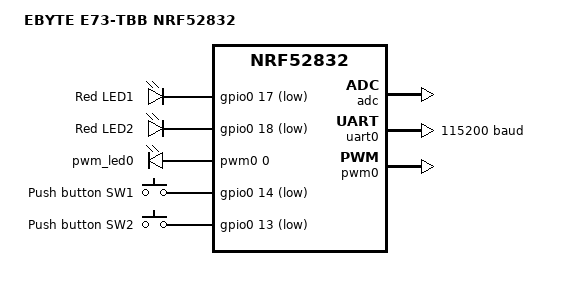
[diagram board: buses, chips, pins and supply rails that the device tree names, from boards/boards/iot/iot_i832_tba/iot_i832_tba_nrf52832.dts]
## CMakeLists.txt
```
#
# Copyright (c) 2021 Nordic Semiconductor ASA
#
# SPDX-License-Identifier: LicenseRef-Nordic-5-Clause
#
cmake_minimum_required(VERSION 3.20.0)
find_package(Zephyr REQUIRED HINTS $ENV{ZEPHYR_BASE})
project(vibTrack)

# NORDIC SDK APP START
target_sources(app PRIVATE
  src/SystemStateMachine/SystemInit.c src/main.c src/BLE/ble.c src/Configurations/Configurations.c src/nrfconfig.c
)
# NORDIC  SDK APP END
```

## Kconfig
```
#
# Copyright (c) 2023 Nordic Semiconductor
#
# SPDX-License-Identifier: LicenseRef-Nordic-5-Clause
#

source "Kconfig.zephyr"

menu "Nordic Status Message GATT service sample"

config BT_STATUS_SECURITY_ENABLED
	bool "Enable security"
	default n
	select BT_SMP
	select BT_SETTINGS
	select FLASH
	select FLASH_PAGE_LAYOUT
	select FLASH_MAP
	select NVS
	select SETTINGS
	help
	  Enable BLE security implementation for Nordic Status Message instances.
	  After enabling this option one of the Status Messages would be available only when
	  connection is secure.

endmenu
```

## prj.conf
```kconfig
CONFIG_NCS_SAMPLES_DEFAULTS=y
CONFIG_DK_LIBRARY=y

CONFIG_BT=y
#CONFIG_LOG=y
CONFIG_BT_PERIPHERAL=y
CONFIG_BT_DEVICE_APPEARANCE=832
CONFIG_BT_DEVICE_NAME="Nordic_HRS"
CONFIG_BT_HRS=y
CONFIG_BT_BAS=y



#CONFIG_FLASH=y
#CONFIG_FLASH_PAGE_LAYOUT=y
#CONFIG_FLASH_MAP=y
#CONFIG_SETTINGS=y

CONFIG_SPI=y
CONFIG_I2C=y
CONFIG_WATCHDOG=n

#CONFIG_BT_LL_SW_SPLIT=y
CONFIG_CLOCK_CONTROL_NRF_K32SRC_RC=y

#dynamic control and features
CONFIG_BT_CTLR_ADVANCED_FEATURES=y
CONFIG_BT_CTLR_CONN_RSSI=y
CONFIG_BT_CTLR_TX_PWR_DYNAMIC_CONTROL=y


# CONFIG le coded
CONFIG_BT_CTLR_PHY_CODED=y
CONFIG_BT_CTLR_ADV_EXT=y

CONFIG_BT_EXT_ADV=y
CONFIG_BT_USER_PHY_UPDATE=y




#tx power level cofig
#CONFIG_BT_CTLR_TX_PWR_MINUS_20=y
CONFIG_BT_CTLR_TX_PWR_PLUS_8=y
#CONFIG_BT_CTLR_TX_PWR_0=y
```

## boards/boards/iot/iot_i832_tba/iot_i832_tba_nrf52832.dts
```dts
/*
 * Copyright (c) 2017 Shawn Nock <shawn@monadnock.ca>
 * Copyright (c) 2017 Linaro Limited
 * Copyright (c) 2021 Michal Morsisko
 *
 * SPDX-License-Identifier: Apache-2.0
 */

/dts-v1/;
#include <nordic/nrf52832_qfaa.dtsi>
#include "iot_i832_tba_nrf52832-pinctrl.dtsi"
#include <zephyr/dt-bindings/input/input-event-codes.h>

/ {
	model = "EBYTE E73-TBB NRF52832";
	compatible = "ebyte,e73-tbb-nrf52832";

	chosen {
		zephyr,console = &uart0;
		zephyr,shell-uart = &uart0;
		zephyr,uart-mcumgr = &uart0;
		zephyr,bt-mon-uart = &uart0;
		zephyr,bt-c2h-uart = &uart0;
		zephyr,sram = &sram0;
		zephyr,flash = &flash0;
		zephyr,code-partition = &slot0_partition;
	};

	leds {
		compatible = "gpio-leds";
		led0: led_0 {
			gpios = <&gpio0 17 GPIO_ACTIVE_LOW>;
			label = "Red LED1";
		};
		led1: led_1 {
			gpios = <&gpio0 18 GPIO_ACTIVE_LOW>;
			label = "Red LED2";
		};
	};

	pwmleds {
		compatible = "pwm-leds";
		pwm_led0: pwm_led_0 {
			pwms = <&pwm0 0 PWM_MSEC(20) PWM_POLARITY_INVERTED>;
		};
	};

	buttons {
		compatible = "gpio-keys";
		button0: button_0 {
			gpios = <&gpio0 14 (GPIO_PULL_UP | GPIO_ACTIVE_LOW)>;
			label = "Push button SW1";
			zephyr,code = <INPUT_KEY_0>;
		};
		button1: button_1 {
			gpios = <&gpio0 13 (GPIO_PULL_UP | GPIO_ACTIVE_LOW)>;
			label = "Push button SW2";
			zephyr,code = <INPUT_KEY_1>;
		};
	};

	/* These aliases are provided for compatibility with samples */
	aliases {
		led0 = &led0;
		led1 = &led1;
		pwm-led0 = &pwm_led0;
		sw0 = &button0;
		sw1 = &button1;
		bootloader-led0 = &led0;
		watchdog0 = &wdt0;
	};
};

&adc {
	status = "okay";
};

&uicr {
	gpio-as-nreset;
};

&gpiote {
	status = "okay";
};

&gpio0 {
	status = "okay";
};

&uart0 {
	status = "okay";
	compatible = "nordic,nrf-uarte";
	current-speed = <115200>;
	pinctrl-0 = <&uart0_default>;
	pinctrl-1 = <&uart0_sleep>;
	pinctrl-names = "default", "sleep";
};

&pwm0 {
	status = "okay";
	pinctrl-0 = <&pwm0_default>;
	pinctrl-1 = <&pwm0_sleep>;
	pinctrl-names = "default", "sleep";
};

&flash0 {

	partitions {
		compatible = "fixed-partitions";
		#address-cells = <1>;
		#size-cells = <1>;

		boot_partition: partition@0 {
			label = "mcuboot";
			reg = <0x00000000 0xc000>;
		};
		slot0_partition: partition@c000 {
			label = "image-0";
			reg = <0x0000C000 0x32000>;
		};
		slot1_partition: partition@3e000 {
			label = "image-1";
			reg = <0x0003E000 0x32000>;
		};
		scratch_partition: partition@70000 {
			label = "image-scratch";
			reg = <0x00070000 0xa000>;
		};
		storage_partition: partition@7a000 {
			label = "storage";
			reg = <0x0007a000 0x00006000>;
		};
	};
};
```

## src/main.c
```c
// #include "../inc/vibSens.h"

#include "../inc/SystemStateMachine/SystemInit.h"
int main(void)
{
	system_init();
	init_timers();
	// blink_led();

	while (1)
	{
		process_radio_states();
		// blink_led();
	}
}
```

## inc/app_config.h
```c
#ifndef _APP_CONFIG_H
#define _APP_CONFIG_H

#include <zephyr/types.h>
#include <stddef.h>
#include <zephyr/sys/printk.h>
#include <zephyr/sys/util.h>
#include <zephyr/sys/byteorder.h>

#include <zephyr/bluetooth/bluetooth.h>
#include <zephyr/bluetooth/hci.h>
#include <zephyr/bluetooth/hci_vs.h>

#include <zephyr/bluetooth/conn.h>
#include <zephyr/bluetooth/uuid.h>
#include <zephyr/bluetooth/gatt.h>
#include <zephyr/bluetooth/services/hrs.h>
#include <zephyr/device.h>
#include <zephyr/settings/settings.h>
#include <zephyr/drivers/gpio.h>

#include <dk_buttons_and_leds.h>


#include <zephyr/types.h>
#include <stddef.h>
#include <zephyr/sys/printk.h>
#include <zephyr/sys/util.h>
#include <zephyr/sys/byteorder.h>

#include <zephyr/bluetooth/bluetooth.h>
#include <zephyr/bluetooth/hci.h>
#include <zephyr/bluetooth/hci_vs.h>

#include <zephyr/bluetooth/conn.h>
#include <zephyr/bluetooth/uuid.h>
#include <zephyr/bluetooth/gatt.h>
#include <zephyr/bluetooth/services/hrs.h>


#define ENABLE 1
#define DISABLE 0

#define CTX_PIN 17
#define CRX_PIN 19
#define CPS_PIN 6

#define STATUS_LED_BT832X 20
#define STATUS_LED_E73_833 29

#define STATUS_LED STATUS_LED_BT832X

#define GPIO_PORT DT_NODELABEL(gpio0) // Use GPIO0 (check your devicetree)

#define ADV_TX_POWER (int8_t) 4
#define DEVICE_BEACON_TXPOWER_NUM  8
static const int8_t txpower[DEVICE_BEACON_TXPOWER_NUM] = {4, 0, -3, -8,
							  -15, -18, -23, -30};

#endif //_APP_CONFIG_H
```

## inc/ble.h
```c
#ifndef _BLE_H
#define _BLE_H

int stop_advertise(void);
int start_advertise(void);
int radio_init(void);


#endif //_BLE_H
```

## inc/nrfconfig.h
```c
#ifndef _NRF_CONFIG_H
#define _NRF_CONFIG_H

#include <stddef.h>
#include <errno.h>
#include <string.h>

#include <zephyr/kernel.h>
#include <zephyr/types.h>

#include <zephyr/sys/printk.h>
#include <zephyr/sys/util.h>
#include <zephyr/sys/byteorder.h>

#include <zephyr/bluetooth/bluetooth.h>
#include <zephyr/bluetooth/hci.h>
#include <zephyr/bluetooth/hci_vs.h>
#include <zephyr/bluetooth/conn.h>
#include <zephyr/bluetooth/uuid.h>
#include <zephyr/bluetooth/gatt.h>
#include <zephyr/bluetooth/services/hrs.h>
#include <zephyr/bluetooth/services/bas.h>
#include <bluetooth/services/lbs.h>

#include <zephyr/device.h>
#include <zephyr/settings/settings.h>
#include <zephyr/drivers/gpio.h>

#include <dk_buttons_and_leds.h>


#endif //_NRF_CONFIG_H
```

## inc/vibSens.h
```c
#ifndef _VIB_SENSOR_H
#define _VIB_SENSOR_H

void blink_led();
void init_timers(void);
int system_init(void);
void handle_advertise();
int start_advertise(void);
int stop_advertise(void);

#endif //_VIB_SENSOR_H
```

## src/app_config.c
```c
#include "../inc/app_config.h"

const struct device *gpio_dev;
static int int_power_amplifire(uint8_t status)
{
    int err = 0;

    gpio_dev = DEVICE_DT_GET(GPIO_PORT);
    if (!device_is_ready(gpio_dev))
    {
        printk("GPIO device not ready\n");
        return 1;
    }

    gpio_pin_configure(gpio_dev, CTX_PIN, GPIO_OUTPUT_ACTIVE);
    gpio_pin_configure(gpio_dev, CRX_PIN, GPIO_OUTPUT_ACTIVE);
    gpio_pin_configure(gpio_dev, CPS_PIN, GPIO_OUTPUT_ACTIVE);

    if (status == ENABLE)
    {
        // set sky66112 power mode transmit high power
        gpio_pin_set(gpio_dev, CPS_PIN, 0); // CPS = 0  CPS_PIN = 6
        gpio_pin_set(gpio_dev, CTX_PIN, 1); // CTX = 1  CTX_PIN = 17
        gpio_pin_set(gpio_dev, CRX_PIN, 0); // CRX = X  CRX_PIN = 19
    }
    else if (status == DISABLE)
    {
        // set sky66112 power mode transmit low power
        gpio_pin_set(gpio_dev, CPS_PIN, 0); // CPS = 1  CPS_PIN = 6
        gpio_pin_set(gpio_dev, CTX_PIN, 0); // CTX = 0  CTX_PIN = 17
        gpio_pin_set(gpio_dev, CRX_PIN, 0); // CRX = X  CRX_PIN = 19
    }

    return err;
}
```

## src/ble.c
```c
#include "../inc/app_config.h"
#include "../inc/ble.h"

#define MAX_ADVERTISE_PACKET 250
static struct bt_conn *default_conn;
static uint16_t default_conn_handle;


static void set_tx_power(uint8_t handle_type, uint16_t handle, int8_t tx_pwr_lvl)
{
	struct bt_hci_cp_vs_write_tx_power_level *cp;
	struct bt_hci_rp_vs_write_tx_power_level *rp;
	struct net_buf *buf, *rsp = NULL;
	int err;

	buf = bt_hci_cmd_create(BT_HCI_OP_VS_WRITE_TX_POWER_LEVEL,sizeof(*cp));
	if (!buf) {
		printk("Unable to allocae command buffer\n");
		return;
	}

	cp = net_buf_add(buf, sizeof(*cp));
	cp->handle = sys_cpu_to_le16(handle);
	cp->handle_type = handle_type;
	cp->tx_power_level = tx_pwr_lvl;

	err = bt_hci_cmd_send_sync(BT_HCI_OP_VS_WRITE_TX_POWER_LEVEL,
				   buf, &rsp);
	if (err) {
		printk("Set Tx power err: %d\n", err);
		return;
	}

	rp = (void *)rsp->data;
	printk("Actual Tx Power: %d\n", rp->selected_tx_power);

	net_buf_unref(rsp);
}

static void get_tx_power(uint8_t handle_type, uint16_t handle, int8_t *tx_pwr_lvl)
{
	struct bt_hci_cp_vs_read_tx_power_level *cp;
	struct bt_hci_rp_vs_read_tx_power_level *rp;
	struct net_buf *buf, *rsp = NULL;
	int err;

	*tx_pwr_lvl = 0xFF;
	buf = bt_hci_cmd_create(BT_HCI_OP_VS_READ_TX_POWER_LEVEL,
				sizeof(*cp));
	if (!buf) {
		printk("Unable to allocate command buffer\n");
		return;
	}

	cp = net_buf_add(buf, sizeof(*cp));
	cp->handle = sys_cpu_to_le16(handle);
	cp->handle_type = handle_type;

	err = bt_hci_cmd_send_sync(BT_HCI_OP_VS_READ_TX_POWER_LEVEL,
				   buf, &rsp);
	if (err) {
		printk("Read Tx power err: %d\n", err);
		return;
	}

	rp = (void *)rsp->data;
	*tx_pwr_lvl = rp->tx_power_level;

	net_buf_unref(rsp);
}



// static uint8_t txPower = 8;
uint8_t adv_packet_no = 0;
uint8_t sensor_data[] = {
    0x4C, 0x00, // 0x59 00 nordic, 0x4c 00 apple
    0x02, 0x15,
    0x1A, 0xCC, 0x1B, 0x16, 0x01, 0x02, 0x03, 0x04, 0x05, 0x06, 0x07, 0x08, 0x09, 0x0A, 0x0B, 0x0C,
    0x00, 0x00, 0x00, 0x00, 0x00};

static const struct bt_data sensor[] = {
    BT_DATA_BYTES(BT_DATA_FLAGS, BT_LE_AD_NO_BREDR | BT_LE_AD_GENERAL),
    BT_DATA(BT_DATA_MANUFACTURER_DATA, sensor_data, sizeof(sensor_data)),
};
/*
static const struct bt_data ad[] = {
    BT_DATA_BYTES(BT_DATA_FLAGS, (BT_LE_AD_GENERAL | BT_LE_AD_NO_BREDR)),
    BT_DATA(BT_DATA_NAME_COMPLETE, DEVICE_NAME, DEVICE_NAME_LEN),
};
static const struct bt_data sd[] = {
    BT_DATA_BYTES(BT_DATA_UUID128_ALL, BT_UUID_NSMS_VAL),
};
*/

/*void set_tx_power(int8_t tx_power)
{
    NRF_RADIO->TXPOWER = (tx_power << RADIO_TXPOWER_TXPOWER_Pos) & RADIO_TXPOWER_TXPOWER_Msk;
}
*/

/*int8_t get_tx_power(void)
{
    return (NRF_RADIO->TXPOWER & RADIO_TXPOWER_TXPOWER_Msk) >> RADIO_TXPOWER_TXPOWER_Pos;
}
*/
void get_public_mac_address(void)
{
    struct net_buf *rsp;
    struct bt_hci_rp_read_bd_addr *rp;
    int err;

    // Send HCI command to read the BD_ADDR (public address)

    err = bt_hci_cmd_send_sync(BT_HCI_OP_READ_BD_ADDR, NULL, &rsp);
    if (err)
    {
        printk("Failed to get public address (err %d)\n", err);
        return;
    }

    rp = (struct bt_hci_rp_read_bd_addr *)rsp->data;

    printk("Public MAC Address: %02X:%02X:%02X:%02X:%02X:%02X\n",
           rp->bdaddr.val[5], rp->bdaddr.val[4], rp->bdaddr.val[3],
           rp->bdaddr.val[2], rp->bdaddr.val[1], rp->bdaddr.val[0]);

    net_buf_unref(rsp);
}

int start_advertise(void)
{
    int err = 0;
    uint8_t tx_power = 0;
    // set_tx_power(4);
    //tx_power = get_tx_power();
  //  set_tx_power(BT_HCI_VS_LL_HANDLE_TYPE_ADV, 0, 8);
    sensor_data[sizeof(sensor_data) - 1] = tx_power;
    sensor_data[sizeof(sensor_data) - 2] = adv_packet_no;
    if (adv_packet_no < MAX_ADVERTISE_PACKET)
    {
        ++adv_packet_no;
    }
    else
    {
        adv_packet_no = 1;
    }

    err = bt_le_adv_start(BT_LE_ADV_CONN, sensor, ARRAY_SIZE(sensor), NULL, 0);

    // err = bt_le_adv_start(BT_LE_ADV_NCONN /*BT_LE_ADV_CONN*/, ad, ARRAY_SIZE(ad), sd, ARRAY_SIZE(sd));

    if (err)
    {
        printk("Advertising failed to start (err %d)\n", err);
        return 0;
    }
    printk("advertising started\n");

    return err;
}

int stop_advertise(void)
{
    int err = 0;
//  err = bt_le_adv_stop();
    return err;
}

int radio_init(void)
{
    int err;
    int8_t txp_get=0;
    printk("Initialize radio \n");
    err = bt_enable(start_advertise);

	printk("Get Tx power level ->");
	get_tx_power(BT_HCI_VS_LL_HANDLE_TYPE_ADV, 0, &txp_get);
	printk("-> default TXP = %d\n", txp_get);

    k_sleep(K_SECONDS(5));

    printk("Set Tx power level to %d\n", ADV_TX_POWER);
	set_tx_power(BT_HCI_VS_LL_HANDLE_TYPE_ADV,0, (int8_t)ADV_TX_POWER);
	k_sleep(K_SECONDS(5));
    printk("Get Tx power level -> ");
	get_tx_power(BT_HCI_VS_LL_HANDLE_TYPE_ADV,0, &txp_get);
	printk("TXP = %d\n", txp_get);
    
    if (err)
    {
        printk("Bluetooth init failed (err %d)\n", err);
        return 0;
    }
    // bt_ctlr_set_public_addr();
    // bt_ctlr_set_static_addr();

    printk("Bluetooth initialized\n");

    if (IS_ENABLED(CONFIG_SETTINGS))
    {
        settings_load();
    }
    // get_public_mac_address();
    return 0;
}
```

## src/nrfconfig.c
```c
#include "..\inc\nrfconfig.h"
```

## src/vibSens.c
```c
/*
  P0.17 -> ctx
  p0.19 -> crx
  p0.06 -> cps

*/
#include "../inc/app_config.h"
#include "../inc/ble.h"
#include "../inc/vibsens.h"

/*
#include <zephyr/bluetooth/bluetooth.h>
#include <zephyr/bluetooth/conn.h>
#include <zephyr/bluetooth/uuid.h>
#include <zephyr/bluetooth/gatt.h>
#include <zephyr/bluetooth/hci.h>
#include <bluetooth/gatt_dm.h>
#include <bluetooth/scan.h>

#include <zephyr/bluetooth/services/bas.h>
#include <zephyr/bluetooth/services/hrs.h>
#include <bluetooth/services/hrs_client.h>


#include <zephyr/device.h>
#include <zephyr/drivers/gpio.h>

#include <zephyr/settings/settings.h>

#include <zephyr/kernel.h>

// #include <sys/byteorder.h>
#include <stdio.h>
// #include <bluetooth/hci_vs.h>

// #include <nrfx_gpio.h>
*/
//#define STACKSIZE 1024
//#define PRIORITY 7

#define RUN_STATUS_LED DK_LED1
#define STATUS_LED1 DK_LED2
#define STATUS_LED2 DK_LED3

#define RUN_LED_BLINK_INTERVAL 1000

// #define HRS_QUEUE_SIZE 16

#define ADVERTISE_DELAY_TIME 2
#define ADVERTISE_DURATION 1000


#define STATUS1_BUTTON DK_BTN1_MSK
#define STATUS2_BUTTON DK_BTN2_MSK

// GPIO defination


int board_init(void);

void cb_timer_app_1sec(struct k_timer *timer_id);
void cb_timer_app_100ms(struct k_timer *timer_id);
void cb_timer_app_100ms_stop(struct k_timer *timer_id);

K_TIMER_DEFINE(timer_1sec, cb_timer_app_1sec, NULL);
K_TIMER_DEFINE(timer_100ms, cb_timer_app_100ms, cb_timer_app_100ms_stop);

uint8_t led_status = 0;



static int init_button(void)
{
    int err;
    //err = dk_buttons_init(button_changed);
    if (err)
    {
        printk("Cannot init buttons (err: %d)\n", err);
    }
    return err;
}

int system_init(void)
{
    int err;
    err = board_init();
    err = radio_init();
    // int_power_amplifire(ENABLE);
    return err;
}

int board_init(void)
{
    int err;
    printk("sensor init\n");
    err = dk_leds_init();
    if (err)
    {
        printk("LEDs init failed (err %d)\n", err);
        return 0;
    }

    /*  err = init_button();
      if (err)
      {
          printk("Button init failed (err %d)\n", err);
          return 0;
      }
      */
    return err;
}

static uint8_t advertise_state = 0;

void handle_advertise()
{
    if (advertise_state == 1)
    {
        //start_advertise();
        //printk("start advertising \n");
        dk_set_led(RUN_STATUS_LED, 0);
        advertise_state = 3;
    }
    else if (advertise_state == 2)
    {
        //stop_advertise();
        //printk("stop advertising \n");
        dk_set_led(RUN_STATUS_LED, 1);
        advertise_state = 3;
    }
    else
    {
    }
};

void cb_timer_app_1sec(struct k_timer *timer_id)
{

    advertise_state = 1;
    k_timer_start(&timer_100ms, K_MSEC(ADVERTISE_DURATION), K_NO_WAIT);
    // start advertise
}

void cb_timer_app_100ms(struct k_timer *timer_id)
{
    // turn off led
    // stop_advertise();
    advertise_state = 2;

}
void cb_timer_app_100ms_stop(struct k_timer *timer_id)
{
}

void init_timers(void)
{
    k_timer_start(&timer_1sec, K_SECONDS(ADVERTISE_DELAY_TIME), K_SECONDS(ADVERTISE_DELAY_TIME));
}

void blink_led(void)
{
    // static int blink_status = 0;
    // dk_set_led(RUN_STATUS_LED, 0 /*(++blink_status) % 2*/);
    // dk_set_led(STATUS_LED1, 0);
    // dk_set_led(STATUS_LED2, 1);
    // k_sleep(K_MSEC(RUN_LED_BLINK_INTERVAL));
    //   gpio_pin_set(gpio_dev, PIN_NUMBER, 1); // Set pin high
    //    k_msleep(500);                         // Delay
    //    gpio_pin_set(gpio_dev, PIN_NUMBER, 0); // Set pin low
    //    k_msleep(500);                         // Delay
}
```
